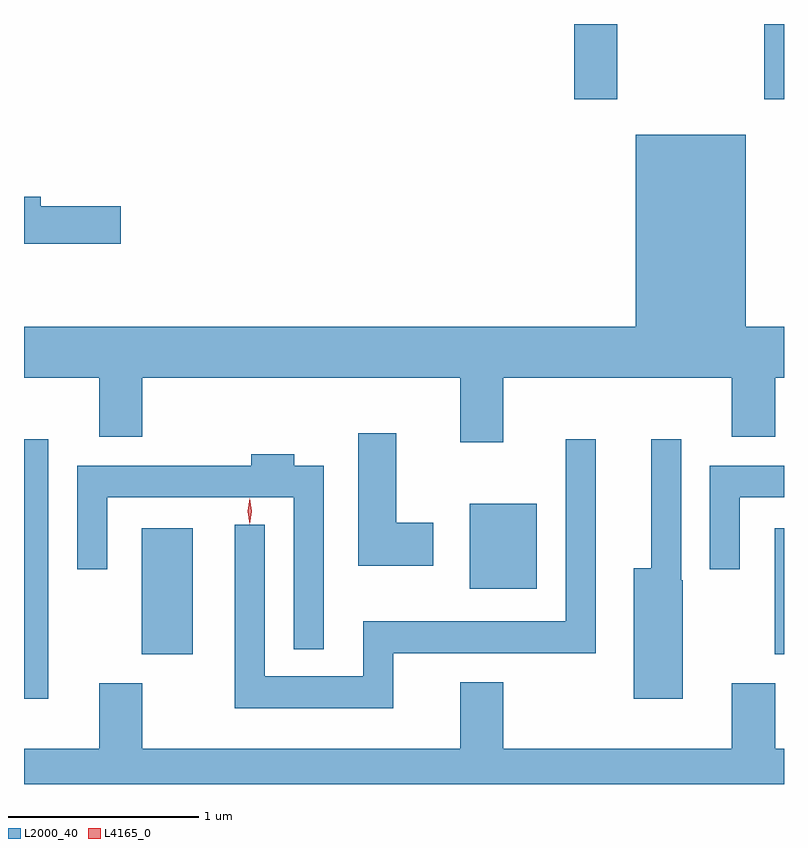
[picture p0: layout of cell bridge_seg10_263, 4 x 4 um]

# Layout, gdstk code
import gdstk
lib = gdstk.Library(unit=1e-6, precision=1e-09)
def R(c, l, rs):  # rectangles x0, y0, x1, y1
    for r in rs: c.add(gdstk.rectangle(r[:2], r[2:], *l))
def P(c, l, *ps):  # polygons
    for p in ps: c.add(gdstk.Polygon(p, *l))
L2000_40 = (2000, 40)
L4165_0 = (4165, 0)

bridge_seg10_263 = lib.new_cell('bridge_seg10_263')
R(bridge_seg10_263, L2000_40, [(1808.976,2101.126,1809.104,2102.493), (1809.596,2101.361,1809.864,2102.024), (1812.926,2101.361,1812.976,2102.024), (1811.321,2101.706,1811.674,2102.154), (1811.871,2104.281,1812.099,2104.678), (1812.871,2104.281,1812.976,2104.678)])
P(bridge_seg10_263, L2000_40, [(1811.499,2102.816),(1812.701,2102.816),(1812.701,2102.506),(1812.929,2102.506),(1812.929,2102.816),(1812.976,2102.816),(1812.976,2103.084),(1812.774,2103.084),(1812.774,2104.094),(1812.196,2104.094),(1812.196,2103.084),(1808.976,2103.084),(1808.976,2102.816),(1809.371,2102.816),(1809.371,2102.506),(1809.599,2102.506),(1809.599,2102.816),(1811.271,2102.816),(1811.271,2102.476),(1811.499,2102.476)],
  [(1809.484,2103.719),(1809.064,2103.719),(1809.064,2103.769),(1808.976,2103.769),(1808.976,2103.521),(1809.484,2103.521)],
  [(1811.129,2102.054),(1810.934,2102.054),(1810.934,2102.524),(1810.736,2102.524),(1810.736,2101.826),(1811.129,2101.826)],
  [(1812.444,2101.75),(1812.434,2101.75),(1812.434,2102.493),(1812.276,2102.493),(1812.276,2101.814),(1812.186,2101.814),(1812.186,2101.126),(1812.444,2101.126)],
  [(1810.919,2101.366),(1811.984,2101.366),(1811.984,2102.493),(1811.826,2102.493),(1811.826,2101.534),(1810.761,2101.534),(1810.761,2101.244),(1810.244,2101.244),(1810.244,2102.043),(1810.086,2102.043),(1810.086,2101.076),(1810.919,2101.076)],
  [(1810.554,2102.354),(1810.399,2102.354),(1810.399,2102.414),(1810.171,2102.414),(1810.171,2102.354),(1809.256,2102.354),(1809.256,2101.808),(1809.414,2101.808),(1809.414,2102.186),(1810.396,2102.186),(1810.396,2101.388),(1810.554,2101.388)],
  [(1812.744,2102.186),(1812.976,2102.186),(1812.976,2102.354),(1812.586,2102.354),(1812.586,2101.808),(1812.744,2101.808)],
  [(1812.976,2100.864),(1812.929,2100.864),(1812.929,2101.209),(1812.701,2101.209),(1812.701,2100.864),(1811.499,2100.864),(1811.499,2101.214),(1811.271,2101.214),(1811.271,2100.864),(1809.599,2100.864),(1809.599,2101.209),(1809.371,2101.209),(1809.371,2100.864),(1808.976,2100.864),(1808.976,2100.678),(1812.976,2100.678)])
P(bridge_seg10_263, L4165_0, [(1810.165,2102.047),(1810.164,2102.048),(1810.155,2102.114),(1810.164,2102.18),(1810.165,2102.18),(1810.165,2102.18),(1810.175,2102.114),(1810.165,2102.048)],
  [(1810.164,2102.044),(1810.164,2102.044),(1810.154,2102.113),(1810.164,2102.182),(1810.164,2102.183),(1810.165,2102.182),(1810.174,2102.113),(1810.165,2102.044)])

lib.write_gds('bridge_seg10_263.gds')
